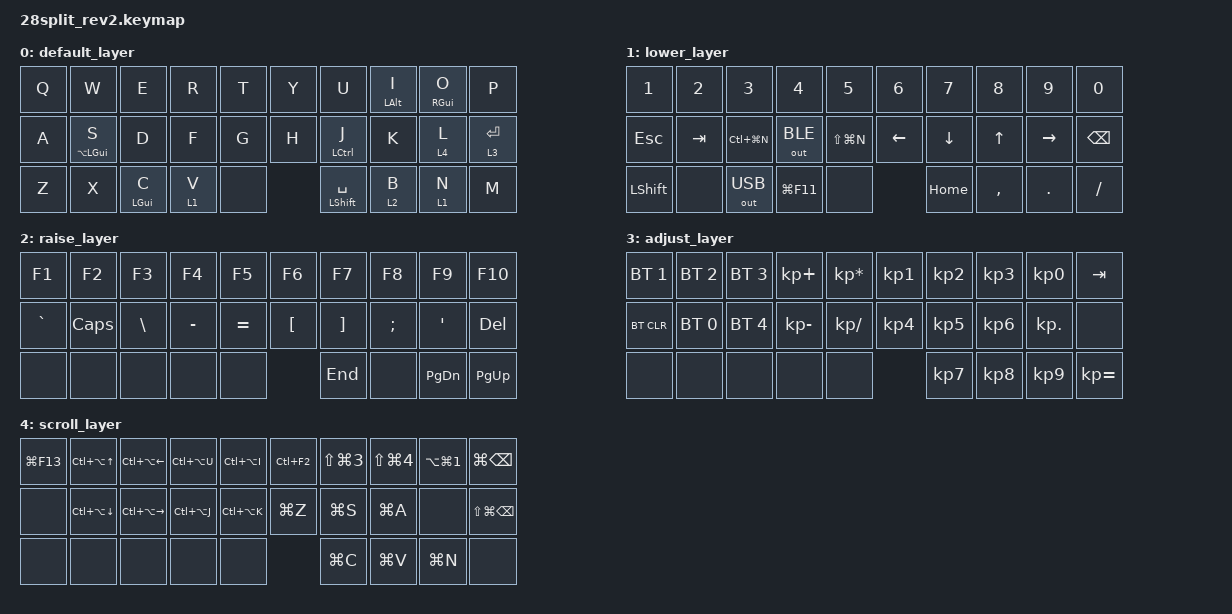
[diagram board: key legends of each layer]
/*
 * Copyright (c) 2020 The ZMK Contributors
 *
 * SPDX-License-Identifier: MIT
 */

#include <behaviors.dtsi>
#include <dt-bindings/zmk/keys.h>
#include <dt-bindings/zmk/bt.h>
#include <dt-bindings/zmk/outputs.h>

#define DEFAULT 0
#define LOWER   1
#define RAISE   2
#define ADJUST  3
#define SCROLL  4

/ {
        keymap {
                compatible = "zmk,keymap";

                default_layer {
// ---------------------------------------------------------------------------------------------
// |Q    |W             |E         |R      |T     |  |Y    |U               |I(LA)     |O(LGUI)   |P        |
// |A    |S(LA(LGUI))   |D         |F      |G     |  |H    |J(LC)           |K         |L(LT4)    |ENT(LT3) |
// |Z    |X             |C(LGUI)   |V(LT1) |NONE  |        |SPC(LS)         |B(LT2)    |N(LT1)    |M        |
                        bindings = <
   &kp Q  &kp W          &kp E      &kp R   &kp T     &kp Y &kp U            &mt LALT I &mt RGUI O &kp P
   &kp A  &mt LA(LGUI) S &kp D      &kp F   &kp G     &kp H &mt LCTRL J      &kp K      &lt 4 L    &lt 3 RET
   &kp Z  &kp X          &mt LGUI C &lt 1 V &none           &mt LSHIFT SPACE &lt 2 B    &lt 1 N    &kp M
                        >;

			//sensor-bindings = <&inc_dec_kp C_AC_ZOOM_IN C_AC_ZOOM_OUT>;
                };
                lower_layer {
// -------------------------------------------------------------------------------------------------------------
// |1        |2      |3            |4           |5           ||6       |7       |8        |9         |0        |
// |ESC      |TAB    |LC+LG+N      |Output-BLE  |LS+LG+N     ||LEFT    |DOWN    |UP       |RIGHT     |BACKSPACE|
// |LSHIFT   |NONE   |Output-USB   |LGUI+F11    |NONE                  |HOME    |,        |   .      |/        |
                        bindings = <
   &kp N1     &kp N2  &kp N3        &kp N4       &kp N5        &kp N6   &kp N7   &kp N8    &kp N9     &kp N0
   &kp ESC    &kp TAB &kp LC(LG(N)) &out OUT_BLE &kp LS(LG(N)) &kp LEFT &kp DOWN &kp UP    &kp RIGHT  &kp BSPC
   &kp LSHIFT &none   &out OUT_USB  &kp LG(F11)  &none                  &kp HOME &kp COMMA &kp DOT    &kp SLASH
                        >;

			//sensor-bindings = <&inc_dec_kp PG_DN PG_UP>;
                };
                raise_layer {
// -----------------------------------------------------------------------------------------------
// |F1      |F2      |F3      |F4       |F5      ||F6      |F7      |F8      |F9       |F10      |
// |`       |CAPS    |\       |-        |=       ||[       |]       |;       |'        |DEL      |
// |NONE    |NONE    |NONE    |NONE     |NONE              |END     |NONE    |PG_DN    |PG_UP    |
                        bindings = <
   &kp F1    &kp F2   &kp F3   &kp F4    &kp F5    &kp F6   &kp F7   &kp F8   &kp F9    &kp F10
   &kp GRAVE &kp CAPS &kp BSLH &kp MINUS &kp EQUAL &kp LBKT &kp RBKT &kp SEMI &kp SQT   &kp DEL
   &none     &none    &none    &none     &none              &kp END  &none    &kp PG_DN &kp PG_UP
                        >;

			//sensor-bindings = <&inc_dec_kp C_AC_ZOOM_IN C_AC_ZOOM_OUT>;
                };
                adjust_layer {
// --------------------------------------------------------------------------------------------------------------------------
// |BT 1       |BT 2        |BT 3        |P+          |P*            ||P1       |P2       |P3       |P0        |TAB         |
// |BT CLR     |BT 0        |BT 4        |P-          |P/            ||P4       |P5       |P6       |P.        |NONE        |
// |NONE       |NONE        |NONE        |NONE        |                         |P7       |P8       |P9        |P=          |
                        bindings = <
   &bt BT_SEL 1 &bt BT_SEL 2 &bt BT_SEL 3 &kp KP_PLUS  &kp KP_MULTIPLY &kp KP_N1 &kp KP_N2 &kp KP_N3 &kp KP_N0  &kp TAB
   &bt BT_CLR   &bt BT_SEL 0 &bt BT_SEL 4 &kp KP_MINUS &kp KP_SLASH    &kp KP_N4 &kp KP_N5 &kp KP_N6 &kp KP_DOT &none
   &none        &none        &none        &none        &none                     &kp KP_N7 &kp KP_N8 &kp KP_N9  &kp KP_EQUAL
                        >;

			//sensor-bindings = <&inc_dec_kp C_AC_ZOOM_IN C_AC_ZOOM_OUT>;
                };
                scroll_layer {
// --------------------------------------------------------------------------------------------------------------------------------------------------
// |LGUI+F13  |Win_Up          |Win_Left         |Win_TopLeft  |Win_TopRight||MENU      |Grab full        |Grab part        |Sort by name     |Finder Delete     |
// |NONE      |Win_Down        |Win_Right        |Win_BotLeft  |Win_BotRight||UNDO      |SAVE             |Select all       |NONE             |Finder Empty Trash|
// |NONE      |NONE            |NONE             |NONE         |NONE                    |COPY             |PASTE            |New              |NONE              |
                        bindings = <
   &kp LG(F13) &kp LC(LA(UP))   &kp LC(LA(LEFT))  &kp LC(LA(U)) &kp LC(LA(I)) &kp LC(F2) &kp LS(LG(N3))    &kp LS(LG(N4))    &kp LA(LG(N1))    &kp LG(BSPC)
   &none       &kp LC(LA(DOWN)) &kp LC(LA(RIGHT)) &kp LC(LA(J)) &kp LC(LA(K)) &kp LG(Z)  &kp LG(S)         &kp LG(A)         &none             &kp LS(LG(BSPC)) 
   &none       &none            &none             &none         &none                    &kp LG(C)         &kp LG(V)         &kp LG(N)         &none
                        >;

			//sensor-bindings = <&inc_dec_kp C_AC_ZOOM_IN C_AC_ZOOM_OUT>;
                };
      };
};
